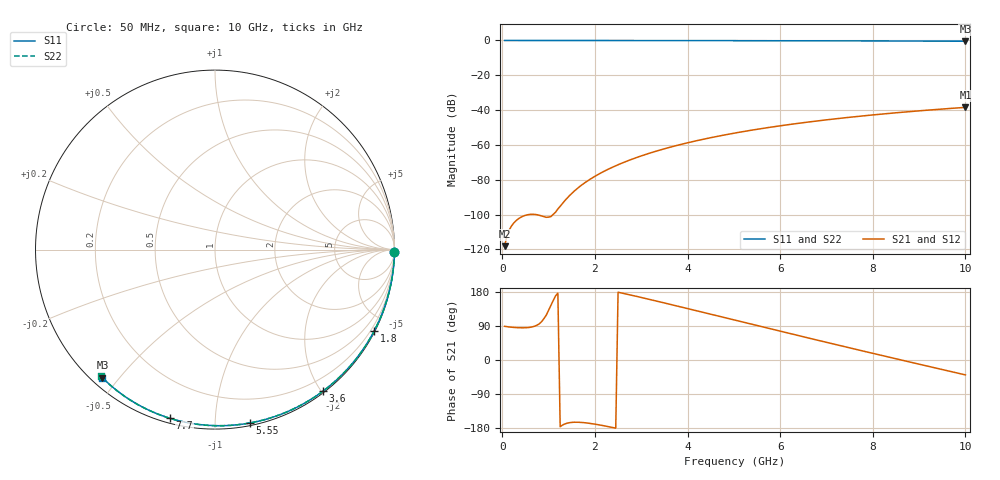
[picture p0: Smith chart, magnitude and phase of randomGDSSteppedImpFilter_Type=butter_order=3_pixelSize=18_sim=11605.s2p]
! freq	dB(S11)	phase(S11)	dB(S12)	phase(S12)
!  dB(S21)	phase(S21)	dB(S22)	phase(S22)
!S-par simulation data
#  GHz  S  DB  R 50
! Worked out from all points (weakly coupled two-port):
!   200 points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, 50 MHz to 10 GHz, reference 50 ohm
!   highest |S21| = -38.44 dB at 10 GHz (marker M1); lowest = -118.2 dB at 50 MHz (marker M2)
!   lowest |S11| = -0.4 dB at 10 GHz (marker M3), VSWR 39.09, Z = 1.54 - j22.6 ohm
!   |S11| at or under -10 dB: nowhere
!   |S22| runs from -0.4 to 0.0 dB; largest |S21 - S12| = 0
!   S11 on the Smith chart (normalised r, x): 50 MHz: open; 1.8 GHz: 0.04, -4.18; 3.6 GHz: 0.02, -2.02; 5.55 GHz: 0.02, -1.22; 7.7 GHz: 0.02, -0.77; 10 GHz: 0.03, -0.45
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0.05  -0.00 -0.8  -118.16 88.9  -118.16 88.9  -0.00 -0.8
0.9  -0.02 -13.6  -101.26 109.4  -101.26 109.4  -0.02 -13.7
1.75  -0.03 -26.2  -82.34 -165.2  -82.34 -165.2  -0.03 -26.3
1.8  -0.03 -26.9  -81.40 -165.8  -81.40 -165.8  -0.03 -27.1
1.85  -0.04 -27.6  -80.51 -166.6  -80.51 -166.6  -0.04 -27.8
1.9  -0.04 -28.4  -79.65 -167.4  -79.65 -167.4  -0.04 -28.5
2.05  -0.04 -30.6  -77.26 -170.3  -77.26 -170.3  -0.04 -30.7
2.25  -0.04 -33.5  -74.44 -174.9  -74.44 -174.9  -0.04 -33.7
2.45  -0.05 -36.4  -71.96 -179.9  -71.96 -179.9  -0.05 -36.6
2.65  -0.05 -39.2  -69.73 174.8  -69.73 174.8  -0.05 -39.5
3  -0.06 -44.2  -66.32 165.0  -66.32 165.0  -0.06 -44.5
3.4  -0.07 -49.8  -62.98 153.5  -62.98 153.5  -0.07 -50.1
3.6  -0.07 -52.6  -61.49 147.6  -61.49 147.6  -0.07 -52.9
4.3  -0.09 -62.2  -56.97 126.8  -56.97 126.8  -0.09 -62.5
5.05  -0.11 -72.1  -53.05 104.4  -53.05 104.4  -0.11 -72.5
5.55  -0.13 -78.6  -50.82 89.5  -50.82 89.5  -0.13 -79.0
6.1  -0.15 -85.5  -48.65 73.1  -48.65 73.1  -0.15 -86.0
6.7  -0.18 -93.0  -46.55 55.4  -46.55 55.4  -0.18 -93.5
7.7  -0.24 -104.9  -43.57 26.2  -43.57 26.2  -0.24 -105.6
8.35  -0.29 -112.5  -41.90 7.5  -41.90 7.5  -0.29 -113.2
9.15  -0.36 -121.7  -40.10 -15.3  -40.10 -15.3  -0.36 -122.5
10  -0.44 -131.3  -38.44 -39.3  -38.44 -39.3  -0.45 -132.2
